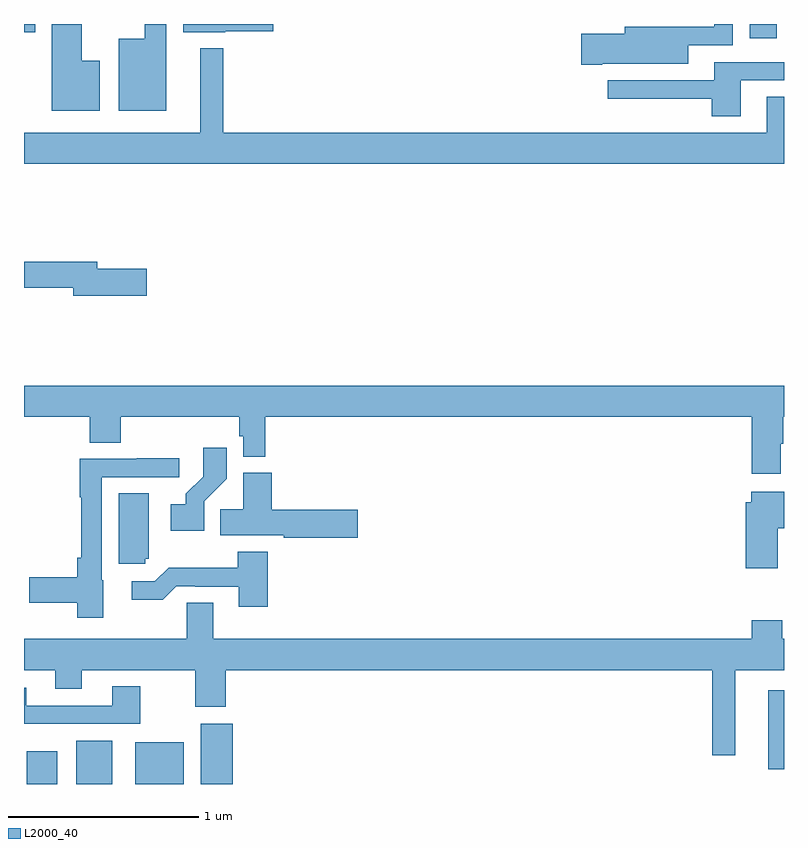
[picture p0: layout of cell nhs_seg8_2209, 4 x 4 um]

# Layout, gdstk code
import gdstk
lib = gdstk.Library(unit=1e-6, precision=1e-09)
def R(c, l, rs):  # rectangles x0, y0, x1, y1
    for r in rs: c.add(gdstk.rectangle(r[:2], r[2:], *l))
def P(c, l, *ps):  # polygons
    for p in ps: c.add(gdstk.Polygon(p, *l))
L2000_40 = (2000, 40)

nhs_seg8_2209 = lib.new_cell('nhs_seg8_2209')
R(nhs_seg8_2209, L2000_40, [(251.015,1115.9,251.176,1116.073), (251.276,1115.9,251.464,1116.127), (251.585,1115.9,251.842,1116.121), (251.93,1115.9,252.098,1116.217), (254.918,1115.978,255,1116.394), (254.819,1119.825,254.962,1119.9), (251,1119.857,251.059,1119.9)])
P(nhs_seg8_2209, L2000_40, [(251.398,1119.706),(251.305,1119.706),(251.305,1119.9),(251.147,1119.9),(251.147,1119.443),(251.398,1119.443)],
  [(251.749,1119.9),(251.635,1119.9),(251.635,1119.823),(251.498,1119.823),(251.498,1119.443),(251.749,1119.443)],
  [(254.044,1119.692),(254.497,1119.692),(254.497,1119.789),(254.73,1119.789),(254.73,1119.9),(254.634,1119.9),(254.634,1119.885),(254.388,1119.885),(254.388,1119.886),(254.162,1119.886),(254.162,1119.85),(253.932,1119.85),(253.932,1119.685),(254.044,1119.685)],
  [(252.06,1119.863),(252.313,1119.863),(252.313,1119.9),(251.837,1119.9),(251.837,1119.857),(252.06,1119.857)],
  [(255,1119.518),(254.909,1119.518),(254.909,1119.328),(252.049,1119.328),(252.049,1119.772),(251.927,1119.772),(251.927,1119.328),(251,1119.328),(251,1119.164),(255,1119.164)],
  [(254.773,1119.603),(255,1119.603),(255,1119.699),(254.633,1119.699),(254.633,1119.603),(254.073,1119.603),(254.073,1119.506),(254.621,1119.506),(254.621,1119.414),(254.773,1119.414)],
  [(251.647,1118.612),(251.386,1118.612),(251.386,1118.648),(251,1118.648),(251,1118.512),(251.258,1118.512),(251.258,1118.47),(251.647,1118.47)],
  [(254.983,1117.691),(254.996,1117.691),(254.996,1117.832),(255,1117.832),(255,1117.996),(251,1117.996),(251,1117.832),(251.345,1117.832),(251.345,1117.696),(251.51,1117.696),(251.51,1117.832),(252.133,1117.832),(252.133,1117.731),(252.153,1117.731),(252.153,1117.622),(252.269,1117.622),(252.269,1117.832),(254.831,1117.832),(254.831,1117.533),(254.983,1117.533)],
  [(251.949,1117.387),(252.068,1117.506),(252.068,1117.669),(251.943,1117.669),(251.943,1117.517),(251.852,1117.427),(251.852,1117.372),(251.772,1117.372),(251.772,1117.232),(251.949,1117.232)],
  [(251.416,1116.972),(251.409,1116.972),(251.409,1117.515),(251.818,1117.515),(251.818,1117.614),(251.593,1117.614),(251.593,1117.611),(251.293,1117.611),(251.293,1117.408),(251.301,1117.408),(251.301,1117.09),(251.28,1117.09),(251.28,1116.989),(251.028,1116.989),(251.028,1116.854),(251.28,1116.854),(251.28,1116.776),(251.416,1116.776)],
  [(252.757,1117.343),(252.305,1117.343),(252.305,1117.537),(252.155,1117.537),(252.155,1117.346),(252.034,1117.346),(252.034,1117.208),(252.367,1117.208),(252.367,1117.196),(252.757,1117.196)],
  [(254.968,1117.247),(255,1117.247),(255,1117.438),(254.828,1117.438),(254.828,1117.383),(254.798,1117.383),(254.798,1117.035),(254.968,1117.035)],
  [(251.637,1117.086),(251.656,1117.086),(251.656,1117.43),(251.498,1117.43),(251.498,1117.059),(251.637,1117.059)],
  [(252.284,1117.123),(252.124,1117.123),(252.124,1117.039),(251.761,1117.039),(251.688,1116.966),(251.568,1116.966),(251.568,1116.869),(251.729,1116.869),(251.802,1116.942),(251.902,1116.942),(251.902,1116.939),(252.131,1116.939),(252.131,1116.834),(252.284,1116.834)],
  [(254.743,1116.5),(255,1116.5),(255,1116.664),(254.991,1116.664),(254.991,1116.763),(254.831,1116.763),(254.831,1116.664),(251.995,1116.664),(251.995,1116.854),(251.856,1116.854),(251.856,1116.664),(251,1116.664),(251,1116.5),(251.165,1116.5),(251.165,1116.401),(251.305,1116.401),(251.305,1116.5),(251.902,1116.5),(251.902,1116.306),(252.062,1116.306),(252.062,1116.5),(254.622,1116.5),(254.622,1116.051),(254.743,1116.051)],
  [(251.613,1116.415),(251.465,1116.415),(251.465,1116.312),(251.011,1116.312),(251.011,1116.406),(251,1116.406),(251,1116.216),(251.613,1116.216)])

lib.write_gds('nhs_seg8_2209.gds')
